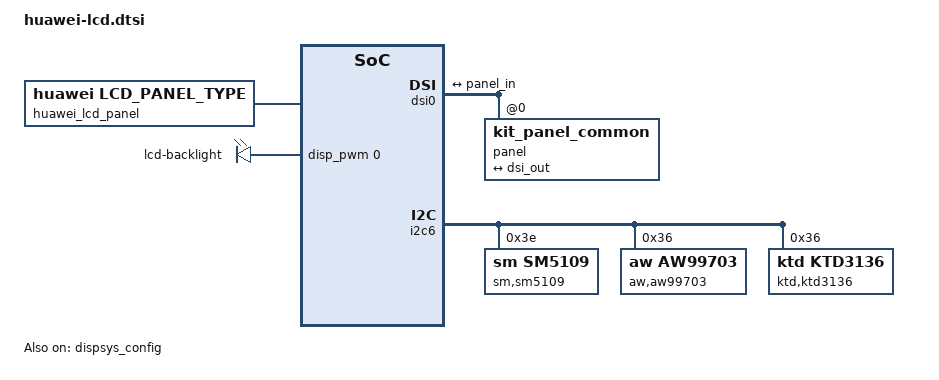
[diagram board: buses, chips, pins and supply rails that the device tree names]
#include "../lcdkit3.0/kon/devkit_lcd_kit.dtsi"

&huawei_lcd_panel {
		compatible = "huawei,lcd_panel_type";
		product_id = <7000>;
		detect_type = <2>; /*0:DETECT_GPIOID  1:DETECT_CHIPID  2:DETECT_LCD_TYPE */
		gpio_id = <131 132>; /*ID0 ID1*/
		support_lcd_type = "LCD_KIT";
		iovcc_ctrl_mode = <1>;
};

&reserved_memory {
};

/* chosen */
&chosen {
	atag,videolfb-fb_base_l = <0x7e605000>;
	atag,videolfb-fb_base_h = <0x0>;
	atag,videolfb-islcmfound = <1>;
	atag,videolfb-islcm_inited = <0>;
	atag,videolfb-fps= <6000>;
	atag,videolfb-vramSize= <0x1be0000>;
	atag,videolfb-lcmname=
		"nt35595_fhd_dsi_cmd_truly_nt50358_drv";
};

&pio {
	mtkfb_pins_lcm_dsi_te: lcm_dsi_te {
		pins_cmd_dat {
			pinmux = <PINMUX_GPIO84__FUNC_DSI_TE>;
		};
	};
};

&dispsys_config {
	pinctrl-names =
		"mode_te_te";
	pinctrl-0 = <&mtkfb_pins_lcm_dsi_te>;
	status = "okay";
};

&dsi0 {
	status = "okay";
	#address-cells = <1>;
	#size-cells = <0>;
	panel@0 {
		compatible = "kit_panel_common";
		reg = <0>;
		port {
			panel_in: endpoint {
				remote-endpoint = <&dsi_out>;
			};
		};
	};
	ports {
		port {
			dsi_out: endpoint {
				remote-endpoint = <&panel_in>;
			};
		};
	};
};

&pwmleds {
	compatible = "mediatek,pwm-leds";

	backlight {
		label = "lcd-backlight";
		pwms = <&disp_pwm 0 39385>;
		led-bits = <13>;
		trans-bits = <11>;
		pwm-names = "lcd-backlight";
		default-state = "on";
	};
};

&i2c6{
	sm,sm5109@3E{
		compatible = "sm,sm5109";
		reg = <0x3E>;
		sm5109_support = <1>;
		sm5109_i2c_bus_id = <6>;
	};
	aw,aw99703@36{
		compatible = "aw,aw99703";
		aw99703_support = <1>;
		reg = <0x36>;
		aw99703_hw_enable = <1>;
		aw99703_i2c_bus_id = <6>;
		aw99703_hw_en_gpio = <136>;
		aw99703_hw_en_pull_low = <0>;
		bl_on_lk_mdelay = <5>;
		bl_on_kernel_mdelay = <5>;
		aw99703_reg_pfm_67 = <0x1C>;
		aw99703_reg_boot_headroom_23 = <0x61>;
		aw99703_reg_pfm_threshold_25 = <0x61>;
		aw99703_reg_pfm_hys_24 = <0x4C>;
		aw99703_reg_led_current = <0x9B>;
		aw99703_reg_boost_conctrol1 = <0x29>;
		aw99703_reg_af_high = <0x10>;
		aw99703_reg_af_low = <0x05>;
		aw99703_reg_soft_start_68 = <0x2C>;
		aw99703_reg_boot_duty_31 = <0xC0>;
		aw99703_reg_flash = <0x08>;
		aw99703_reg_lsb = <0x00>;
		aw99703_reg_msb = <0x01>;
		aw99703_reg_boost_conctrol2 = <0x80>;
		aw99703_reg_mode = <0x11>;
		aw99703_reg_boot_duty_31_1 = <0x00>;
		aw99703_reg_flash_1 = <0x58>;
		aw99703_reg_soft_start_68_1 = <0x00>;
		aw99703_reg_boost_conctrol2_1 = <0x00>;
		bl_level = <2047>;
		aw99703_10000_backlight = <1>;
		aw99703_check_fault_support = <1>;
	};

	ktd,ktd3136@36{
		compatible = "ktd,ktd3136";
		ktd3136_support = <1>;
		reg = <0x36>;
		ktd3136_hw_enable = <1>;
		ktd3136_i2c_bus_id = <6>;
		ktd3136_hw_en_gpio = <136>;
		ktd3136_hw_en_pull_low = <0>;
		bl_on_lk_mdelay = <5>;
		bl_on_kernel_mdelay = <5>;
		ktd3136_reg_ctrl_a_current_set = <0x99>;
		ktd3136_reg_ctrl_a_bl_cfg = <0x60>;
		ktd3136_reg_pwm_cfg = <0x1B>;
		ktd3136_reg_boost_ctrl = <0x10>;
		ktd3136_reg_ctrl_a_lsb = <0x00>;
		ktd3136_reg_ctrl_a_msb = <0x00>;
		bl_level = <2047>;
		ktd3136_10000_backlight = <1>;
		ktd3136_check_fault_support = <1>;
	};
};

